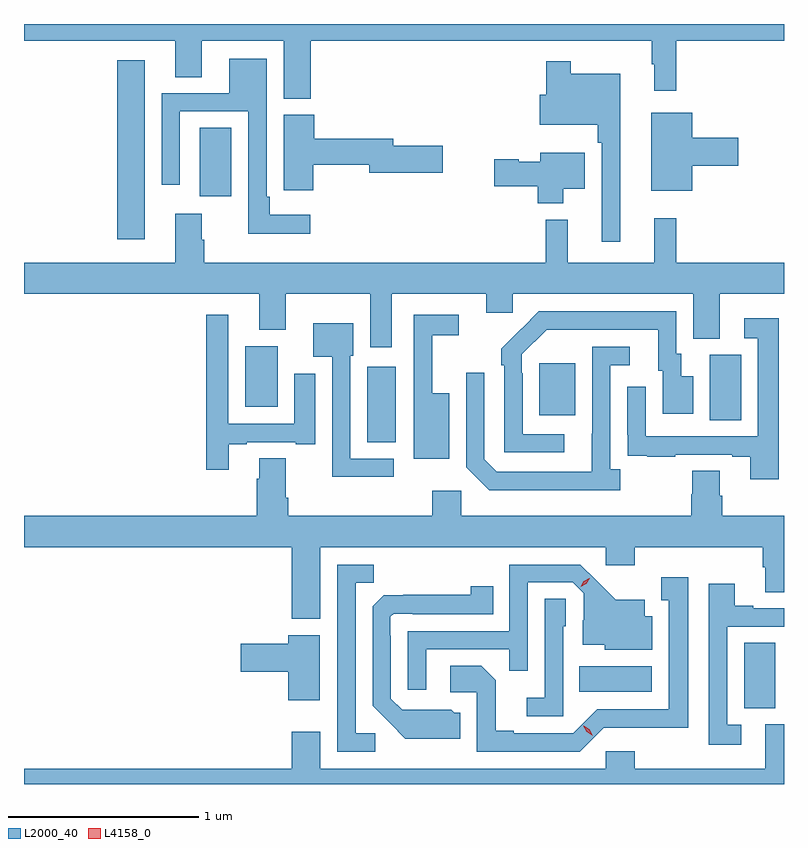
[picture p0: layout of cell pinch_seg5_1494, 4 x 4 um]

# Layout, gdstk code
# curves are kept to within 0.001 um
import gdstk
lib = gdstk.Library(unit=1e-6, precision=1e-09)
def R(c, l, rs):  # rectangles x0, y0, x1, y1
    for r in rs: c.add(gdstk.rectangle(r[:2], r[2:], *l))
def P(c, l, *ps):  # polygons
    for p in ps: c.add(gdstk.Polygon(p, *l))
L2000_40 = (2000, 40)
L4158_0 = (4158, 0)

pinch_seg5_1494 = lib.new_cell('pinch_seg5_1494')
R(pinch_seg5_1494, L2000_40, [(301.406,854.581,301.57,854.924), (300.538,854.666,300.919,854.8), (299.423,855.979,299.572,856.378), (301.226,856.096,301.39,856.44), (300.329,856.121,300.517,856.396), (298.781,856.166,298.951,856.486), (298.106,857.049,298.252,857.989), (298.541,857.274,298.708,857.636)])
P(pinch_seg5_1494, L2000_40, [(299.126,858.092),(300.921,858.092),(300.921,857.969),(300.932,857.969),(300.932,857.829),(301.049,857.829),(301.049,858.092),(301.616,858.092),(301.616,858.181),(297.616,858.181),(297.616,858.092),(298.412,858.092),(298.412,857.902),(298.552,857.902),(298.552,858.092),(298.982,858.092),(298.982,857.788),(299.126,857.788)],
  [(299.122,857.176),(298.909,857.176),(298.909,857.272),(298.893,857.272),(298.893,857.998),(298.697,857.998),(298.697,857.817),(298.341,857.817),(298.341,857.334),(298.437,857.334),(298.437,857.721),(298.797,857.721),(298.797,857.078),(299.122,857.078)],
  [(300.754,857.92),(300.493,857.92),(300.493,857.986),(300.364,857.986),(300.364,857.809),(300.33,857.809),(300.33,857.651),(300.637,857.651),(300.637,857.555),(300.657,857.555),(300.657,857.034),(300.754,857.034)],
  [(301.132,857.435),(301.375,857.435),(301.375,857.582),(301.132,857.582),(301.132,857.713),(300.917,857.713),(300.917,857.303),(301.132,857.303)],
  [(299.139,857.44),(299.432,857.44),(299.432,857.398),(299.821,857.398),(299.821,857.54),(299.56,857.54),(299.56,857.576),(299.144,857.576),(299.144,857.703),(298.982,857.703),(298.982,857.419),(298.983,857.419),(298.983,857.307),(299.139,857.307)],
  [(300.454,857.315),(300.568,857.315),(300.568,857.503),(300.332,857.503),(300.332,857.455),(300.219,857.455),(300.219,857.468),(300.09,857.468),(300.09,857.326),(300.32,857.326),(300.32,857.237),(300.454,857.237)],
  [(299.551,856.76),(300.05,856.76),(300.05,856.662),(300.189,856.662),(300.189,856.76),(301.139,856.76),(301.139,856.525),(301.279,856.525),(301.279,856.76),(301.616,856.76),(301.616,856.924),(301.049,856.924),(301.049,857.158),(300.932,857.158),(300.932,856.924),(300.479,856.924),(300.479,857.152),(300.361,857.152),(300.361,856.924),(298.565,856.924),(298.565,857.045),(298.552,857.045),(298.552,857.182),(298.412,857.182),(298.412,856.924),(297.616,856.924),(297.616,856.76),(298.853,856.76),(298.853,856.571),(298.993,856.571),(298.993,856.76),(299.438,856.76),(299.438,856.479),(299.551,856.479)],
  [(300.46,856.023),(300.24,856.023),(300.24,856.343),(300.237,856.343),(300.237,856.443),(300.366,856.572),(300.953,856.572),(300.953,856.356),(300.977,856.356),(300.977,856.131),(301.138,856.131),(301.138,856.327),(301.075,856.327),(301.075,856.446),(301.05,856.446),(301.05,856.668),(300.326,856.668),(300.129,856.473),(300.129,856.385),(300.144,856.385),(300.144,855.927),(300.46,855.927)],
  [(298.693,855.969),(298.789,855.969),(298.789,855.981),(299.045,855.981),(299.045,855.969),(299.149,855.969),(299.149,856.339),(299.039,856.339),(299.039,856.077),(298.692,856.077),(298.692,856.651),(298.576,856.651),(298.576,855.834),(298.693,855.834)],
  [(299.854,856.237),(299.765,856.237),(299.765,856.542),(299.905,856.542),(299.905,856.65),(299.667,856.65),(299.667,856.133),(299.666,856.133),(299.666,855.893),(299.854,855.893)],
  [(301.588,856.633),(301.407,856.633),(301.407,856.527),(301.479,856.527),(301.479,856.011),(300.888,856.011),(300.888,856.273),(300.792,856.273),(300.792,856.018),(300.793,856.018),(300.793,855.909),(300.895,855.909),(300.895,855.903),(301.043,855.903),(301.043,855.915),(301.343,855.915),(301.343,855.903),(301.439,855.903),(301.439,855.786),(301.588,855.786)],
  [(299.563,855.894),(299.334,855.894),(299.334,856.434),(299.35,856.434),(299.35,856.606),(299.138,856.606),(299.138,856.43),(299.238,856.43),(299.238,855.797),(299.563,855.797)],
  [(300.754,855.838),(300.702,855.838),(300.702,856.386),(300.805,856.386),(300.805,856.482),(300.606,856.482),(300.605,855.825),(300.105,855.825),(300.039,855.891),(300.039,856.345),(299.943,856.345),(299.943,855.849),(300.064,855.728),(300.754,855.728)],
  [(299.176,855.428),(300.678,855.428),(300.678,855.333),(300.83,855.333),(300.83,855.428),(301.505,855.428),(301.505,855.322),(301.517,855.322),(301.517,855.19),(301.616,855.19),(301.616,855.592),(301.292,855.592),(301.292,855.698),(301.279,855.698),(301.279,855.83),(301.132,855.83),(301.132,855.705),(301.127,855.705),(301.127,855.592),(299.916,855.592),(299.916,855.724),(299.765,855.724),(299.765,855.592),(299.006,855.592),(299.006,855.688),(298.993,855.688),(298.993,855.896),(298.853,855.896),(298.853,855.788),(298.841,855.788),(298.841,855.592),(297.616,855.592),(297.616,855.428),(299.024,855.428),(299.024,855.05),(299.176,855.05)],
  [(299.733,854.889),(300.169,854.889),(300.169,854.776),(300.267,854.776),(300.267,855.243),(300.504,855.243),(300.561,855.186),(300.561,855.044),(300.557,855.044),(300.557,854.915),(300.672,854.915),(300.672,854.888),(300.922,854.888),(300.922,855.064),(300.883,855.064),(300.883,855.151),(300.731,855.151),(300.544,855.336),(300.171,855.336),(300.171,854.985),(299.637,854.985),(299.637,854.676),(299.733,854.676)],
  [(299.464,854.448),(299.361,854.448),(299.361,855.241),(299.457,855.241),(299.457,855.336),(299.265,855.336),(299.265,854.352),(299.464,854.352)],
  [(300.666,854.478),(301.111,854.477),(301.111,855.268),(300.971,855.268),(300.971,855.147),(301.01,855.147),(301.01,854.574),(300.633,854.574),(300.507,854.448),(300.193,854.448),(300.193,854.461),(300.099,854.461),(300.099,854.728),(300.023,854.804),(299.859,854.804),(299.859,854.664),(300,854.664),(300,854.352),(300.54,854.352)],
  [(301.39,854.493),(301.317,854.493),(301.317,855.009),(301.616,855.009),(301.616,855.105),(301.453,855.105),(301.453,855.118),(301.357,855.118),(301.357,855.235),(301.221,855.235),(301.221,854.388),(301.39,854.388)],
  [(299.911,854.556),(299.88,854.556),(299.864,854.572),(299.607,854.571),(299.547,854.631),(299.547,854.96),(299.544,854.96),(299.544,855.06),(299.562,855.078),(299.662,855.078),(299.662,855.075),(300.086,855.075),(300.086,855.223),(299.968,855.223),(299.968,855.176),(299.51,855.175),(299.451,855.116),(299.451,854.594),(299.623,854.42),(299.911,854.42)],
  [(300.453,855.012),(300.468,855.012),(300.468,855.155),(300.357,855.155),(300.357,854.635),(300.261,854.635),(300.261,854.538),(300.453,854.538)],
  [(299.173,854.965),(299.006,854.965),(299.006,854.918),(298.758,854.918),(298.758,854.771),(299.006,854.771),(299.006,854.622),(299.173,854.622)],
  [(301.616,854.496),(301.517,854.496),(301.517,854.26),(300.83,854.26),(300.83,854.353),(300.678,854.353),(300.678,854.26),(299.176,854.26),(299.176,854.455),(299.024,854.455),(299.024,854.26),(297.616,854.26),(297.616,854.181),(301.616,854.181)])
P(pinch_seg5_1494, L4158_0, [(300.609,854.436),(300.577,854.455),(300.56,854.488),(300.56,854.488),(300.561,854.488),(300.592,854.469),(300.609,854.436),(300.609,854.436)],
  [(300.545,855.218),(300.545,855.218),(300.562,855.248),(300.592,855.264),(300.593,855.264),(300.593,855.264),(300.576,855.234),(300.546,855.218)])

lib.write_gds('pinch_seg5_1494.gds')
